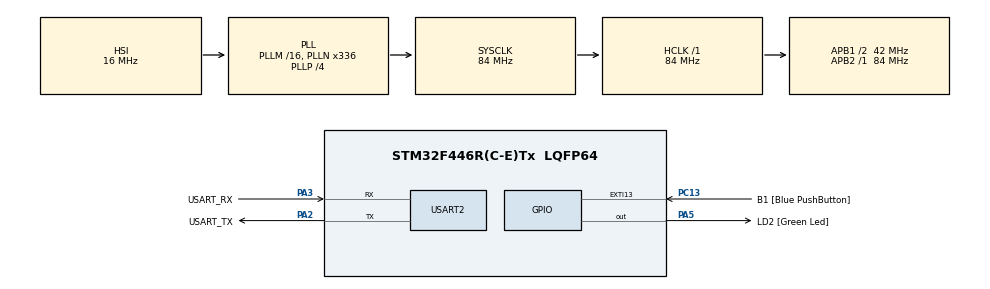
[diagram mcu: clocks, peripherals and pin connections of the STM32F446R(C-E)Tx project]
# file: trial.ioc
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Mcu.Family=STM32F4
Mcu.Name=STM32F446R(C-E)Tx
Mcu.Package=LQFP64
NVIC.PriorityGroup=NVIC_PRIORITYGROUP_0
PA13.GPIO_Label=TMS
PA13.Mode=Serial_Wire
PA13.Signal=SYS_JTMS-SWDIO
PA14.GPIO_Label=TCK
PA14.Mode=Serial_Wire
PA14.Signal=SYS_JTCK-SWCLK
PA2.GPIO_Label=USART_TX
PA2.Mode=Asynchronous
PA2.Signal=USART2_TX
PA3.GPIO_Label=USART_RX
PA3.Mode=Asynchronous
PA3.Signal=USART2_RX
PA5.GPIO_Label=LD2 [Green Led]
PA5.Signal=GPIO_Output
PB3.GPIO_Label=SWO
PB3.Signal=SYS_JTDO-SWO
PC13.GPIO_Label=B1 [Blue PushButton]
PC13.GPIO_ModeDefaultEXTI=GPIO_MODE_IT_FALLING
PC13.Signal=GPXTI13
PC14-OSC32_IN.Mode=LSE-External-Oscillator
PC14-OSC32_IN.Signal=RCC_OSC32_IN
PC15-OSC32_OUT.Mode=LSE-External-Oscillator
PC15-OSC32_OUT.Signal=RCC_OSC32_OUT
PH0-OSC_IN.Mode=HSE-External-Oscillator
PH0-OSC_IN.Signal=RCC_OSC_IN
PH1-OSC_OUT.Mode=HSE-External-Oscillator
PH1-OSC_OUT.Signal=RCC_OSC_OUT
ProjectManager.HeapSize=0x13000
ProjectManager.StackSize=0x400
ProjectManager.TargetToolchain=STM32CubeIDE
RCC.48MHZClocksFreq_Value=84000000
RCC.AHBFreq_Value=84000000
RCC.APB1CLKDivider=RCC_HCLK_DIV2
RCC.APB1Freq_Value=42000000
RCC.APB1TimFreq_Value=84000000
RCC.APB2Freq_Value=84000000
RCC.APB2TimFreq_Value=84000000
RCC.CortexFreq_Value=84000000
RCC.FLatency-AdvancedSettings=FLASH_LATENCY_2
RCC.HCLKFreq_Value=84000000
RCC.HSE_VALUE=8000000
RCC.HSI_VALUE=16000000
RCC.PLLN=336
RCC.PLLP=RCC_PLLP_DIV4
RCC.SYSCLKFreq_VALUE=84000000
RCC.SYSCLKSource=RCC_SYSCLKSOURCE_PLLCLK
RCC.USBFreq_Value=168000000
RCC.VCOOutputFreq_Value=336000000
USART2.VirtualMode=VM_ASYNC
board=NUCLEO-F446RE

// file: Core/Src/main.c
/* USER CODE BEGIN Header */
/**
  ******************************************************************************
  * @file           : main.c
  * @brief          : Main program body
  ******************************************************************************
  * @attention
  *
  * Copyright (c) 2025 STMicroelectronics.
  * All rights reserved.
  *
  * This software is licensed under terms that can be found in the LICENSE file
  * in the root directory of this software component.
  * If no LICENSE file comes with this software, it is provided AS-IS.
  *
  ******************************************************************************
  */
/* USER CODE END Header */
#include "main.h"

/* USER CODE BEGIN Includes */
#include "image.h"
#include "image_processing.h"
/* USER CODE END Includes */

UART_HandleTypeDef huart2;
/* USER CODE BEGIN PV */
ImageTypeDef img_kaynak;
ImageTypeDef img_hedef;
/* USER CODE END PV */

void SystemClock_Config(void);
static void MX_GPIO_Init(void);
static void MX_USART2_UART_Init(void);

int main(void)
{

  /* MCU Configuration--------------------------------------------------------*/

  /* Reset of all peripherals, Initializes the Flash interface and the Systick. */
  HAL_Init();

  /* Configure the system clock */
  SystemClock_Config();

  /* Initialize all configured peripherals */
  MX_GPIO_Init();
  MX_USART2_UART_Init();
  /* USER CODE BEGIN 2 */
    img_kaynak.pData = (uint8_t*)maymun; // 'maymun' dizisinin adresini ver
    img_kaynak.width = QVGA_WIDTH;       // 320
    img_kaynak.height = QVGA_HEIGHT;     // 240
    img_kaynak.format = IMAGE_FORMAT_GRAYSCALE; // <-- ÇOK ÖNEMLİ!
    img_kaynak.size = QVGA_WIDTH * QVGA_HEIGHT * 1; // 76800 byte

    IMAGE_init(&img_hedef, IMAGE_RES_QVGA, IMAGE_FORMAT_GRAYSCALE);

    if(img_hedef.pData != NULL)
      {
          // Artık görüntü işleme yapmaya hazırsınız.
          // Örneğin, kaynak görüntüyü hedef görüntüye kopyalayalım:
          for(uint32_t i = 0; i < img_kaynak.size; i++)
          {
        	  //Deneme
        	  	  //img_hedef.pData[i] = img_kaynak.pData[i];

        	  // Şimdi Q2-a  için negatif alma fonksiyonumuzu çağırıyoruz:
        	       // IMAGE_apply_negative(&img_kaynak, &img_hedef);

        	  // --- Q2-b: Thresholding (Eşikleme)  ---
        	        // Eşik değeri olarak 128 kullanalım
        	  	  //IMAGE_apply_threshold(&img_kaynak, &img_hedef, 128);

        	  // --- Q2-c: Gamma Correction (Gama = 3.0) ---
        	        // 3.0f yazıyoruz ('f' float olduğunu belirtir)
        	   //IMAGE_apply_gamma(&img_kaynak, &img_hedef, 3.0f);

        	  // --- Q2-d: Piecewise Linear (Kontrast Germe) ---
        	        // r1=50, r2=200 seçelim. 50'den küçük pikseller 0,
        	        // 200'den büyükler 255 olacak. Aradakiler 0-255'e yayılacak.
        	         IMAGE_apply_piecewise_linear(&img_kaynak, &img_hedef, 50, 200);
          }

          // VEYA
          // Kendi filtre fonksiyonunuzu çağırabilirsiniz
          // apply_sobel_filter(&img_kaynak, &img_hedef);
      }
      else
      {
          // HATA! RAM'de yer ayrılamadı.
          // (Muhtemelen Heap Size ayarını yapmadınız)
          // Burada bir hata LED'i yakıp sonsuz döngüye girebilirsiniz.
          while(1);
      }
  /* USER CODE END 2 */

  /* Infinite loop */
  while (1)
  {

  }
}

void SystemClock_Config(void)
{
  RCC_OscInitTypeDef RCC_OscInitStruct = {0};
  RCC_ClkInitTypeDef RCC_ClkInitStruct = {0};

  /** Configure the main internal regulator output voltage
  */
  __HAL_RCC_PWR_CLK_ENABLE();
  __HAL_PWR_VOLTAGESCALING_CONFIG(PWR_REGULATOR_VOLTAGE_SCALE3);

  /** Initializes the RCC Oscillators according to the specified parameters
  * in the RCC_OscInitTypeDef structure.
  */
  RCC_OscInitStruct.OscillatorType = RCC_OSCILLATORTYPE_HSI;
  RCC_OscInitStruct.HSIState = RCC_HSI_ON;
  RCC_OscInitStruct.HSICalibrationValue = RCC_HSICALIBRATION_DEFAULT;
  RCC_OscInitStruct.PLL.PLLState = RCC_PLL_ON;
  RCC_OscInitStruct.PLL.PLLSource = RCC_PLLSOURCE_HSI;
  RCC_OscInitStruct.PLL.PLLM = 16;
  RCC_OscInitStruct.PLL.PLLN = 336;
  RCC_OscInitStruct.PLL.PLLP = RCC_PLLP_DIV4;
  RCC_OscInitStruct.PLL.PLLQ = 2;
  RCC_OscInitStruct.PLL.PLLR = 2;
  if (HAL_RCC_OscConfig(&RCC_OscInitStruct) != HAL_OK)
  {
    Error_Handler();
  }

  /** Initializes the CPU, AHB and APB buses clocks
  */
  RCC_ClkInitStruct.ClockType = RCC_CLOCKTYPE_HCLK|RCC_CLOCKTYPE_SYSCLK
                              |RCC_CLOCKTYPE_PCLK1|RCC_CLOCKTYPE_PCLK2;
  RCC_ClkInitStruct.SYSCLKSource = RCC_SYSCLKSOURCE_PLLCLK;
  RCC_ClkInitStruct.AHBCLKDivider = RCC_SYSCLK_DIV1;
  RCC_ClkInitStruct.APB1CLKDivider = RCC_HCLK_DIV2;
  RCC_ClkInitStruct.APB2CLKDivider = RCC_HCLK_DIV1;

  if (HAL_RCC_ClockConfig(&RCC_ClkInitStruct, FLASH_LATENCY_2) != HAL_OK)
  {
    Error_Handler();
  }
}

static void MX_USART2_UART_Init(void)
{

  huart2.Instance = USART2;
  huart2.Init.BaudRate = 115200;
  huart2.Init.WordLength = UART_WORDLENGTH_8B;
  huart2.Init.StopBits = UART_STOPBITS_1;
  huart2.Init.Parity = UART_PARITY_NONE;
  huart2.Init.Mode = UART_MODE_TX_RX;
  huart2.Init.HwFlowCtl = UART_HWCONTROL_NONE;
  huart2.Init.OverSampling = UART_OVERSAMPLING_16;
  if (HAL_UART_Init(&huart2) != HAL_OK)
  {
    Error_Handler();
  }

}

static void MX_GPIO_Init(void)
{
  GPIO_InitTypeDef GPIO_InitStruct = {0};

  /* GPIO Ports Clock Enable */
  __HAL_RCC_GPIOC_CLK_ENABLE();
  __HAL_RCC_GPIOH_CLK_ENABLE();
  __HAL_RCC_GPIOA_CLK_ENABLE();
  __HAL_RCC_GPIOB_CLK_ENABLE();

  /*Configure GPIO pin Output Level */
  HAL_GPIO_WritePin(LD2_GPIO_Port, LD2_Pin, GPIO_PIN_RESET);

  /*Configure GPIO pin : B1_Pin */
  GPIO_InitStruct.Pin = B1_Pin;
  GPIO_InitStruct.Mode = GPIO_MODE_IT_FALLING;
  GPIO_InitStruct.Pull = GPIO_NOPULL;
  HAL_GPIO_Init(B1_GPIO_Port, &GPIO_InitStruct);

  /*Configure GPIO pin : LD2_Pin */
  GPIO_InitStruct.Pin = LD2_Pin;
  GPIO_InitStruct.Mode = GPIO_MODE_OUTPUT_PP;
  GPIO_InitStruct.Pull = GPIO_NOPULL;
  GPIO_InitStruct.Speed = GPIO_SPEED_FREQ_LOW;
  HAL_GPIO_Init(LD2_GPIO_Port, &GPIO_InitStruct);

}

void Error_Handler(void)
{
  __disable_irq();
  while (1)
  {
  }
}
